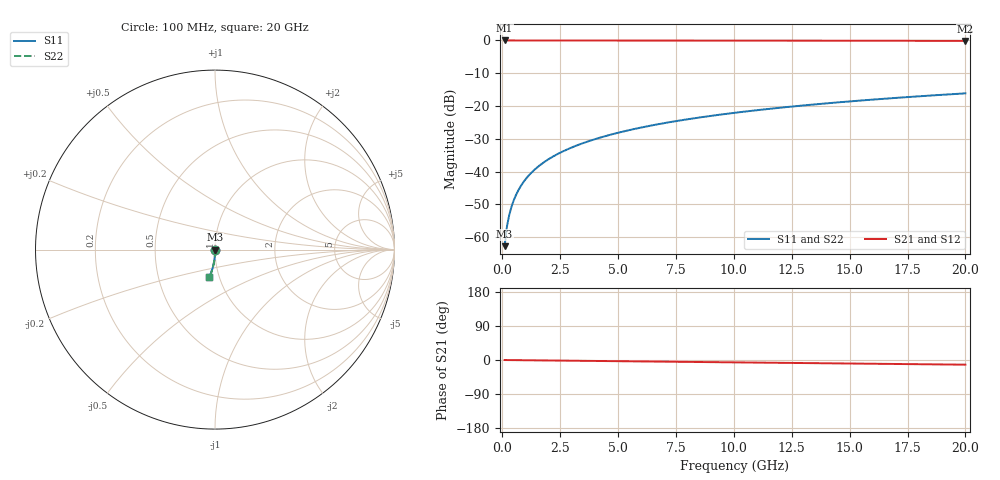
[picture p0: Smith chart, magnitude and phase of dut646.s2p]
! Touchstone file exported from HFSS 2026.1.0
!  File:  C:/ffzhzh/LocalFiles/Ansys_Project_Files/temp_train_TSV_646_1783026557_46388.aedt
!  Generated:  05:10:48 AM Jul  3, 2026
!  Design:  TSV
!  Project:  temp_train_TSV_646_1783026557_46388
! Variables:
!  h_bsmrdl = 2um
!  h_ox = 20um
!  h_rdl = 5um
!  h_sub = 92.55um
!  h_tmrdl = 5um
!  h_tsv = 92.55um
!  h_via = 3um
!  l_bsmrdl = 300um
!  l_sub = 421.34um
!  l_tmrdl = 200um
!  m_sub = 200um
!  pitch = 24.21um
!  r_tsv = 10.67um
!  s_tmrdl = 10um
!  w_bsmrdl = 18um
!  w_sub = 500um
!  w_tmrdl = 12um
!  x_tsv_center1 = 206um
!  x_tsv_center2 = 524um
!  x_tsv_center3 = 736um
!  x_tsv_center4 = 1054um
!  x_tsv_center5 = 1266um
!  x_tsv_center6 = 1584um
# GHz S MA R 50.000000
! Terminal data exported
! Port[1] = TSV1_1_T1
! Port[2] = TSV1_1_T2
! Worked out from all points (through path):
!   200 points, 100 MHz to 20 GHz, reference 50 ohm
!   highest |S21| = 0.00 dB at 100 MHz (marker M1); lowest = -0.1 dB at 20 GHz (marker M2)
!   group delay of S21, straight-line fit = 1.71 ps
!   lowest |S11| = -62.8 dB at 100 MHz (marker M3), VSWR 1.00, Z = 50 - j0.0709 ohm
!   |S11| at or under -10 dB: start of sweep to end of sweep
!   |S22| runs from -62.8 to -16.1 dB; largest |S21 - S12| = 3.3e-15
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0.1  0.0007253 -77.6  0.9998 -0.1  0.9998 -0.1  0.0007253 -77.6
! Gamma 0 0 0 0
! Port Impedance 50 0 50 0
0.2  0.001437 -82.7  0.9998 -0.1  0.9998 -0.1  0.001437 -82.7
0.3  0.002169 -84.2  0.9998 -0.2  0.9998 -0.2  0.002169 -84.2
0.4  0.002916 -84.9  0.9997 -0.3  0.9997 -0.3  0.002916 -84.9
0.5  0.003677 -85.3  0.9997 -0.3  0.9997 -0.3  0.003677 -85.3
0.7  0.005224 -86.0  0.9996 -0.5  0.9996 -0.5  0.005224 -86.0
0.8  0.006005 -86.4  0.9995 -0.5  0.9995 -0.5  0.006005 -86.4
1  0.007573 -86.9  0.9995 -0.6  0.9995 -0.6  0.007573 -86.9
1.2  0.009144 -87.4  0.9994 -0.8  0.9994 -0.8  0.009144 -87.4
1.4  0.01072 -87.8  0.9994 -0.9  0.9994 -0.9  0.01072 -87.8
1.7  0.01307 -88.4  0.9993 -1.1  0.9993 -1.1  0.01307 -88.4
2  0.01543 -88.8  0.9992 -1.3  0.9992 -1.3  0.01543 -88.8
2.7  0.02092 -89.7  0.999 -1.7  0.999 -1.7  0.02092 -89.7
3.5  0.02721 -90.4  0.9988 -2.2  0.9988 -2.2  0.02721 -90.4
4.2  0.03272 -91.0  0.9985 -2.6  0.9985 -2.6  0.03272 -91.0
5  0.03902 -91.6  0.9982 -3.1  0.9982 -3.1  0.03902 -91.6
6.8  0.05322 -92.9  0.9973 -4.3  0.9973 -4.3  0.05322 -92.9
8.3  0.06505 -94.0  0.9965 -5.2  0.9965 -5.2  0.06505 -94.0
10.1  0.0792 -95.2  0.9953 -6.3  0.9953 -6.3  0.0792 -95.2
13.4  0.105 -97.4  0.9927 -8.3  0.9927 -8.3  0.105 -97.4
16.7  0.1306 -99.5  0.9894 -10.3  0.9894 -10.3  0.1306 -99.5
20  0.1558 -101.5  0.9855 -12.3  0.9855 -12.3  0.1558 -101.5
